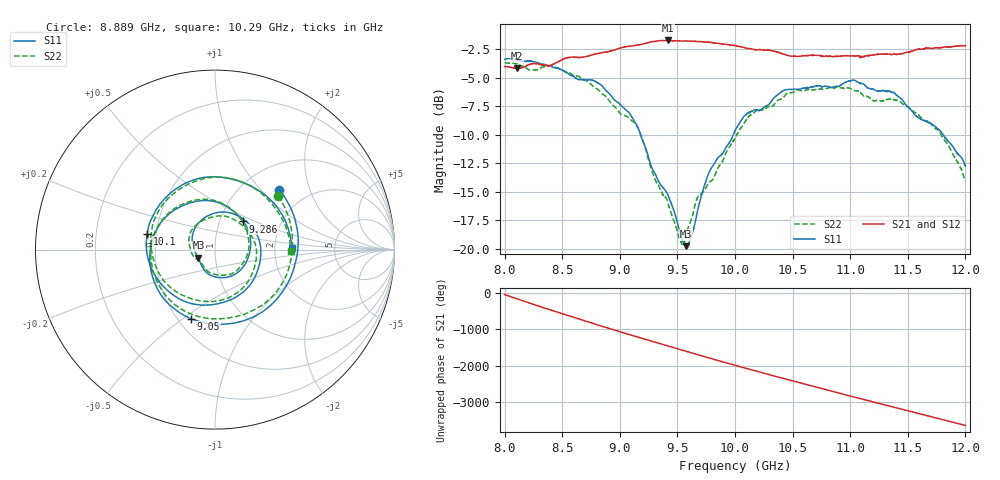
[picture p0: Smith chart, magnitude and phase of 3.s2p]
!Agilent Technologies,E8362C,MY49020356,A.09.42.23
!Agilent E8362C: A.09.42.23
!Date: Wednesday, December 03, 2025 18:06:23
!Correction: S11(Full 2 Port(1,2))
!S21(Full 2 Port(1,2))
!S12(Full 2 Port(1,2))
!S22(Full 2 Port(1,2))
!S2P File: Measurements: S11, S21, S12, S22:
# Hz S  dB  R 50
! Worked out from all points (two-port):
!   6401 points, 8 GHz to 12 GHz, reference 50 ohm
!   highest |S21| = -1.75 dB at 9.419 GHz (marker M1); lowest = -4.2 dB at 8.106 GHz (marker M2)
!   |S21| within 3 dB of the highest: start of sweep to end of sweep
!   lowest |S11| = -19.8 dB at 9.575 GHz (marker M3), VSWR 1.23, Z = 41.4 - j3.82 ohm
!   |S11| at or under -10 dB: 9.181 GHz to 9.985 GHz (804.7 MHz wide, 8.4 % of centre); 11.81 GHz to end of sweep
!   |S22| runs from -19.7 to -3.7 dB; largest |S21 - S12| = 0.016
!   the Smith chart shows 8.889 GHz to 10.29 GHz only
!   S11 on the Smith chart (normalised r, x): 8.889 GHz: 1.45, +1.27; 9.05 GHz: 0.58, -0.54; 9.286 GHz: 1.29, +0.43; 10.1 GHz: 0.45, +0.09; 10.29 GHz: 2.51, +0.05
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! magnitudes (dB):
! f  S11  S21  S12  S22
! 8 GHz  -3.4  -4.0  -4.0  -3.7
! 8.106 GHz  -3.5  -4.2  -4.2  -3.8
! 8.667 GHz  -5.2  -3.2  -3.2  -5.1
! 8.889 GHz  -6.2  -2.8  -2.7  -6.7
! 9.05 GHz  -7.8  -2.3  -2.3  -8.4
! 9.159 GHz  -9.4  -2.1  -2.1  -9.4
! 9.286 GHz  -13.1  -1.8  -1.9  -13.4
! 9.334 GHz  -14.0  -1.8  -1.8  -14.4
! 9.419 GHz  -15.3  -1.7  -1.8  -16.0
! 9.532 GHz  -18.9  -1.8  -1.8  -19.4
! 9.575 GHz  -19.8  -1.8  -1.8  -18.8
! 9.671 GHz  -16.9  -1.8  -1.9  -15.6
! 9.773 GHz  -13.3  -1.9  -2.0  -14.2
! 10 GHz  -9.6  -2.2  -2.2  -10.3
! 10.1 GHz  -8.2  -2.4  -2.5  -8.7
! 10.29 GHz  -7.3  -2.6  -2.7  -7.5
! 10.43 GHz  -6.1  -3.0  -3.0  -6.7
! 10.67 GHz  -5.8  -3.1  -3.1  -6.1
! 11.03 GHz  -5.2  -3.1  -3.2  -6.1
! 11.33 GHz  -6.2  -2.9  -3.0  -6.9
! 11.76 GHz  -9.5  -2.4  -2.5  -9.6
! 12 GHz  -12.7  -2.2  -2.2  -14.0
